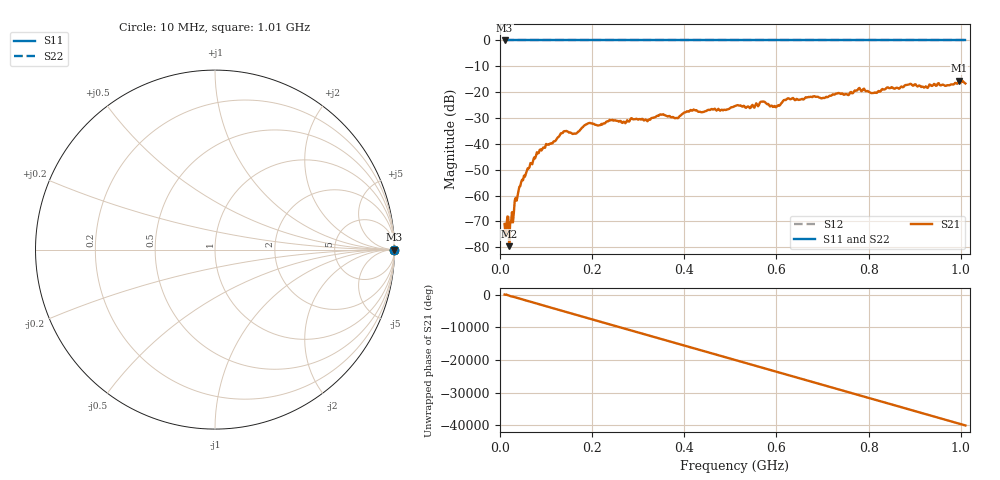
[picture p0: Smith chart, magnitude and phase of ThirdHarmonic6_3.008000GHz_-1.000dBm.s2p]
! 8/17/2025 8:37:20 AM
! C:\ANRITSUVNA\TEMP\TEMP.S2P
! CHANNEL.1
! TR.MEASUREMENT
! RAW.DATA
! RF.CORRECTION.OFF
! AVERAGING.OFF
! IF.BANDWIDTH: 5KHZ
! SWEEPTYPE:  FREQ.SWEEP(Linear)
! Reference Plane Port Info
! PORT:  PORT1  PORT2
! DISTANCE:  0  m  0  m
! TIME:  0  s  0  s
! PHASE.OFFSET:  0  deg.  0  deg.
! LOSS:  0  dB  0  dB
! REF.LOSS:  0  dB  0  dB
! REF.FREQ:  0  Hz  0  Hz
! Power Info
! POWER:  -20  dBm  -20  dBm
! EFF.POWER:  -20  dBm  -20  dBm
! SOURCE.ATTEN:  0  dB  0  dB
! TEST.ATTEN:  0  dB  0  dB
# GHZ S RI R 50.0
! FREQ.GHZ  S11RE  S11IM  S21RE  S21IM  S12RE  S12IM  S22RE  S22IM
!; PortSelection: Port_12
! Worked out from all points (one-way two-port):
!   501 points, 10 MHz to 1.01 GHz, reference 50 ohm
!   highest |S21| = -15.57 dB at 996 MHz (marker M1); lowest = -79.6 dB at 20 MHz (marker M2)
!   lowest |S11| = 0.0 dB at 10 MHz (marker M3)
!   |S11| at or under -10 dB: nowhere
!   |S22| runs from 0.0 to 0.0 dB; largest |S21 - S12| = 1.2
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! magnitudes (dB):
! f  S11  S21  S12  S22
! 10 MHz  0.0  -71.0  0.0  0.0
! 20 MHz  0.0  -79.6  0.0  0.0
! 24 MHz  0.0  -70.3  0.0  0.0
! 30 MHz  0.0  -66.8  0.0  0.0
! 44 MHz  0.0  -56.4  0.0  0.0
! 84 MHz  0.0  -43.6  0.0  0.0
! 136 MHz  0.0  -35.8  0.0  0.0
! 162 MHz  0.0  -36.0  0.0  0.0
! 178 MHz  0.0  -33.7  0.0  0.0
! 344 MHz  0.0  -29.2  0.0  0.0
! 382 MHz  0.0  -30.0  0.0  0.0
! 416 MHz  0.0  -27.2  0.0  0.0
! 510 MHz  0.0  -25.4  0.0  0.0
! 570 MHz  0.0  -23.7  0.0  0.0
! 596 MHz  0.0  -25.3  0.0  0.0
! 622 MHz  0.0  -22.7  0.0  0.0
! 678 MHz  0.0  -21.9  0.0  0.0
! 778 MHz  0.0  -18.7  0.0  0.0
! 814 MHz  0.0  -20.1  0.0  0.0
! 844 MHz  0.0  -18.4  0.0  0.0
! 996 MHz  0.0  -15.6  0.0  0.0
! 1.01 GHz  0.0  -16.6  0.0  0.0
